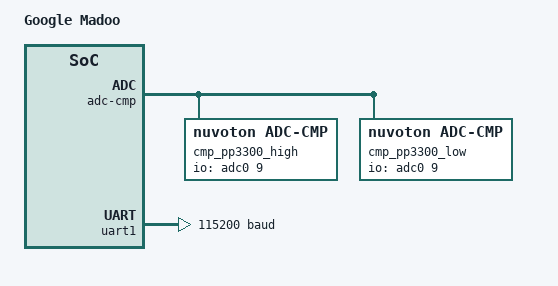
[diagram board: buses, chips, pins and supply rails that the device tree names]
/* Copyright 2021 The Chromium OS Authors. All rights reserved.
 * Use of this source code is governed by a BSD-style license that can be
 * found in the LICENSE file.
 */

/dts-v1/;

#include <cros/nuvoton/npcx7.dtsi>
#include <dt-bindings/gpio_defines.h>
#include <nuvoton/npcx7m7fc.dtsi>

/ {
	model = "Google Madoo";

	chosen {
		zephyr,sram = &sram0;
		zephyr,console = &uart1;
		zephyr,shell-uart = &uart1;
		zephyr,flash = &flash0;
	};

	named-i2c-ports {
		compatible = "named-i2c-ports";
	};

	named-pwms {
		compatible = "named-pwms";
	};

	named-adc-channels {
		compatible = "named-adc-channels";
		adc_pp3300_regulator: pp3300_regulator {
			label = "EC_VSNS_PP3300_A";
			enum-name = "ADC_VSNS_PP3300_A";
			channel = <9>;
		};

	};

	adc-cmp {
		cmp_pp3300_high: pp3300_high {
			compatible = "nuvoton,adc-cmp";
			io-channels = <&adc0 9>;
			comparison = "ADC_CMP_NPCX_COMPARISON_GREATER";
			threshold = <900>;
		};
			cmp_pp3300_low: pp3300_low {
			compatible = "nuvoton,adc-cmp";
			io-channels = <&adc0 9>;
			comparison = "ADC_CMP_NPCX_COMPARISON_LESS_OR_EQUAL";
			threshold = <200>;
		};
	};

	def-lvol-io-list {
		compatible = "nuvoton,npcx-lvolctrl-def";
	};
};

&uart1 {
	status = "okay";
	current-speed = <115200>;
	pinctrl-0 = <&altc_uart1_sl2 &altc_uart1_sl2>;
};
